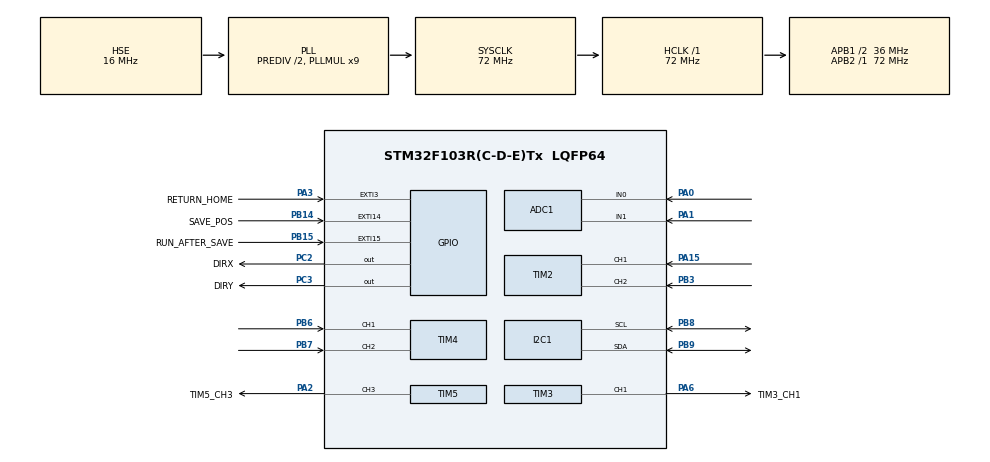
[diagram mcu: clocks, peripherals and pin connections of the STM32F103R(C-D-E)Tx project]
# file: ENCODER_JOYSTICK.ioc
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ADC1.Channel-0\#ChannelRegularConversion=ADC_CHANNEL_0
ADC1.Channel-1\#ChannelRegularConversion=ADC_CHANNEL_1
ADC1.ContinuousConvMode=ENABLE
ADC1.NbrOfConversion=2
ADC1.NbrOfConversionFlag=1
ADC1.Rank-0\#ChannelRegularConversion=1
ADC1.Rank-1\#ChannelRegularConversion=2
ADC1.SamplingTime-0\#ChannelRegularConversion=ADC_SAMPLETIME_239CYCLES_5
ADC1.SamplingTime-1\#ChannelRegularConversion=ADC_SAMPLETIME_239CYCLES_5
ADC1.master=1
Dma.ADC1.0.Direction=DMA_PERIPH_TO_MEMORY
Dma.ADC1.0.Instance=DMA1_Channel1
Dma.ADC1.0.MemDataAlignment=DMA_MDATAALIGN_WORD
Dma.ADC1.0.MemInc=DMA_MINC_ENABLE
Dma.ADC1.0.Mode=DMA_CIRCULAR
Dma.ADC1.0.PeriphDataAlignment=DMA_PDATAALIGN_WORD
Dma.ADC1.0.PeriphInc=DMA_PINC_DISABLE
Dma.ADC1.0.Priority=DMA_PRIORITY_LOW
Dma.Request0=ADC1
I2C1.I2C_Mode=I2C_Fast
Mcu.Family=STM32F1
Mcu.Name=STM32F103R(C-D-E)Tx
Mcu.Package=LQFP64
NVIC.ADC1_2_IRQn=true\:2\:0\:true\:false\:true\:true\:true\:true
NVIC.DMA1_Channel1_IRQn=true\:0\:0\:false\:false\:true\:false\:true\:true
NVIC.EXTI15_10_IRQn=true\:2\:0\:true\:false\:true\:true\:true\:true
NVIC.EXTI3_IRQn=true\:2\:0\:true\:false\:true\:true\:true\:true
NVIC.PriorityGroup=NVIC_PRIORITYGROUP_4
NVIC.TIM2_IRQn=true\:1\:0\:true\:false\:true\:true\:true\:true
NVIC.TIM3_IRQn=true\:1\:0\:true\:false\:true\:true\:true\:true
NVIC.TIM4_IRQn=true\:1\:0\:true\:false\:true\:true\:true\:true
NVIC.TIM5_IRQn=true\:1\:0\:true\:false\:true\:true\:true\:true
PA0-WKUP.Signal=ADCx_IN0
PA1.Signal=ADCx_IN1
PA13.Mode=Serial_Wire
PA13.Signal=SYS_JTMS-SWDIO
PA14.Mode=Serial_Wire
PA14.Signal=SYS_JTCK-SWCLK
PA15.Signal=S_TIM2_CH1_ETR
PA2.GPIO_Label=TIM5_CH3
PA2.Signal=S_TIM5_CH3
PA3.GPIO_Label=RETURN_HOME
PA3.GPIO_ModeDefaultEXTI=GPIO_MODE_IT_FALLING
PA3.GPIO_PuPd=GPIO_PULLUP
PA3.Signal=GPXTI3
PA6.GPIO_Label=TIM3_CH1
PA6.GPIO_Speed=GPIO_SPEED_FREQ_HIGH
PA6.Signal=S_TIM3_CH1
PB14.GPIO_Label=SAVE_POS
PB14.GPIO_ModeDefaultEXTI=GPIO_MODE_IT_FALLING
PB14.GPIO_PuPd=GPIO_PULLUP
PB14.Signal=GPXTI14
PB15.GPIO_Label=RUN_AFTER_SAVE
PB15.GPIO_ModeDefaultEXTI=GPIO_MODE_IT_FALLING
PB15.GPIO_PuPd=GPIO_PULLUP
PB15.Signal=GPXTI15
PB3.Signal=S_TIM2_CH2
PB6.Signal=S_TIM4_CH1
PB7.Signal=S_TIM4_CH2
PB8.Mode=I2C
PB8.Signal=I2C1_SCL
PB9.Mode=I2C
PB9.Signal=I2C1_SDA
PC2.GPIO_Label=DIRX
PC2.Signal=GPIO_Output
PC3.GPIO_Label=DIRY
PC3.Signal=GPIO_Output
PD0-OSC_IN.Mode=HSE-External-Oscillator
PD0-OSC_IN.Signal=RCC_OSC_IN
PD1-OSC_OUT.Mode=HSE-External-Oscillator
PD1-OSC_OUT.Signal=RCC_OSC_OUT
ProjectManager.HeapSize=0x200
ProjectManager.StackSize=0x400
ProjectManager.TargetToolchain=STM32CubeIDE
RCC.ADCPresc=RCC_ADCPCLK2_DIV6
RCC.AHBFreq_Value=72000000
RCC.APB1CLKDivider=RCC_HCLK_DIV2
RCC.APB1Freq_Value=36000000
RCC.APB1TimFreq_Value=72000000
RCC.APB2Freq_Value=72000000
RCC.APB2TimFreq_Value=72000000
RCC.HCLKFreq_Value=72000000
RCC.HSEDivPLL=RCC_HSE_PREDIV_DIV2
RCC.HSE_VALUE=16000000
RCC.PLLMUL=RCC_PLL_MUL9
RCC.PLLSourceVirtual=RCC_PLLSOURCE_HSE
RCC.SYSCLKFreq_VALUE=72000000
RCC.SYSCLKSource=RCC_SYSCLKSOURCE_PLLCLK
RCC.USBFreq_Value=72000000
SH.ADCx_IN0.0=ADC1_IN0,IN0
SH.ADCx_IN1.0=ADC1_IN1,IN1
SH.S_TIM2_CH1_ETR.0=TIM2_CH1,Encoder_Interface
SH.S_TIM2_CH2.0=TIM2_CH2,Encoder_Interface
SH.S_TIM3_CH1.0=TIM3_CH1,PWM Generation1 CH1
SH.S_TIM4_CH1.0=TIM4_CH1,Encoder_Interface
SH.S_TIM4_CH2.0=TIM4_CH2,Encoder_Interface
SH.S_TIM5_CH3.0=TIM5_CH3,PWM Generation3 CH3
TIM2.EncoderMode=TIM_ENCODERMODE_TI12
TIM2.IC1Filter=10
TIM2.IC1Polarity=TIM_ICPOLARITY_RISING
TIM2.IC2Filter=10
TIM2.IC2Polarity=TIM_ICPOLARITY_RISING
TIM3.Channel-PWM\ Generation1\ CH1=TIM_CHANNEL_1
TIM3.Period=40-1
TIM3.Prescaler=720-1
TIM3.Pulse-PWM\ Generation1\ CH1=15
TIM4.EncoderMode=TIM_ENCODERMODE_TI12
TIM4.IC1Filter=10
TIM4.IC2Filter=10
TIM5.Channel-PWM\ Generation3\ CH3=TIM_CHANNEL_3
TIM5.Period=40-1
TIM5.Prescaler=720-1
TIM5.Pulse-PWM\ Generation3\ CH3=15
VP_TIM3_VS_ClockSourceINT.Mode=Internal
board=custom

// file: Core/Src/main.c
/* USER CODE BEGIN Header */
/**
 ******************************************************************************
 * @file           : main.c
 * @brief          : Main program body
 ******************************************************************************
 * @attention
 *
 * Copyright (c) 2023 STMicroelectronics.
 * All rights reserved.
 *
 * This software is licensed under terms that can be found in the LICENSE file
 * in the root directory of this software component.
 * If no LICENSE file comes with this software, it is provided AS-IS.
 *
 ******************************************************************************
 */
/* USER CODE END Header */
#include "main.h"

/* USER CODE BEGIN Includes */
#include "ssd1306.h"
#include "fonts.h"
#include "test.h"
#include <string.h>
#include <stdlib.h>
#include <stdio.h>
/* USER CODE END Includes */

/* USER CODE BEGIN PTD */
typedef struct Position {
	union {
		uint32_t step;
		_Bool direction;
	} axisX;
	union {
		uint32_t step;
		_Bool direction;
	} axisY;
} Pos;
/* USER CODE END PTD */

/* USER CODE BEGIN PD */
#define _OPEN_SYS_ITOA_EXT
#define Y_CHANNEL TIM_CHANNEL_3
#define X_CHANNEL TIM_CHANNEL_1
#define mmX 30
#define mmY 20
#define MAX_ARR 39
#define FASTER_ARR 19
#define length 13
#define one_roundX 3996
#define one_roundY 3996
#define MIN_VALUE 39
#define MAX_VALUE 9999
#define MAX_TIMER_VALUE 65535
#define MIN_DOUBLE 0.01
#define MAX_DOUBLE 1
#define VALUE_AT_HOME 50
#define DIRECTION_PORT GPIOC
/* USER CODE END PD */

ADC_HandleTypeDef hadc1;
DMA_HandleTypeDef hdma_adc1;

I2C_HandleTypeDef hi2c1;

TIM_HandleTypeDef htim2;
TIM_HandleTypeDef htim3;
TIM_HandleTypeDef htim4;
TIM_HandleTypeDef htim5;

/* USER CODE BEGIN PV */
enum {
	CounterClockWise = 1,
	ClockWise = 0,
	moveRobotState = 3,
	returnHomeState = 4,
	runAfterSaveState = 5,
	bluetoothControl = 6
} state;
_Bool true = 1, false = 0;
uint32_t Axis[2], drawX[2], drawY[2];
int timesOverflowX = 0, timesOverflowY = 0;
Pos pos[100];
uint32_t calcX, calcY, currentPulseX = 0, currentPulseY = 0, compensateX = 0,
		compensateY = 0;
uint32_t clkX, clkY, stepX = 0, stepY = 0;
int indexSaving = 0, indexRunAfterSave = 0;
int value_uart = 0, stateOfRobot = moveRobotState;
_Bool isRunning = 0, StateDirX = 0, StateDirY = 0, isAtHomeX = 0, isAtHomeY = 0,
		isAtPositionX = 1, isAtPositionY = 1, isFirstLoop = 0, isReturnHome = 0;
double ratio;
uint32_t distanceX = 0, distanceY = 0;
char value_encoder_Ox[5] = { 0 };
char value_encoder_Oy[5] = { 0 };

/* USER CODE END PV */

void SystemClock_Config(void);
static void MX_GPIO_Init(void);
static void MX_DMA_Init(void);
static void MX_ADC1_Init(void);
static void MX_TIM2_Init(void);
static void MX_TIM3_Init(void);
static void MX_TIM4_Init(void);
static void MX_I2C1_Init(void);
static void MX_TIM5_Init(void);

/* USER CODE BEGIN 0 */

void HAL_GPIO_EXTI_Callback(uint16_t GPIO_Pin) {
	switch (GPIO_Pin) {
	case SAVE_POS_Pin:
		HAL_Delay(200);

		pos[indexSaving].axisX.step = __HAL_TIM_GET_COUNTER(&htim4)
				+ MAX_TIMER_VALUE * timesOverflowX;
		pos[indexSaving].axisY.step = __HAL_TIM_GET_COUNTER(&htim2)
				+ MAX_TIMER_VALUE * timesOverflowY;
		pos[indexSaving].axisX.direction = HAL_GPIO_ReadPin(DIRECTION_PORT,
		DIRX_Pin);
		pos[indexSaving].axisY.direction = HAL_GPIO_ReadPin(DIRECTION_PORT,
		DIRY_Pin);
		indexSaving++;
		HAL_Delay(200);
		__HAL_GPIO_EXTI_CLEAR_IT(SAVE_POS_Pin);
		EXTI->PR = SAVE_POS_Pin;
		break;
	case RUN_AFTER_SAVE_Pin:
		HAL_Delay(100);
		isRunning = true;
		stateOfRobot = runAfterSaveState;
		__HAL_TIM_SET_COUNTER(&htim4, 0);
		__HAL_TIM_SET_COUNTER(&htim2, 0);
		clkX = __HAL_TIM_GET_COUNTER(&htim4);
		clkY = __HAL_TIM_GET_COUNTER(&htim2);
		timesOverflowX = 0;
		timesOverflowY = 0;
		isAtPositionX = true;
		isAtPositionY = true;
		HAL_Delay(100);
		EXTI->PR = RUN_AFTER_SAVE_Pin;
		__HAL_GPIO_EXTI_CLEAR_IT(RUN_AFTER_SAVE_Pin);
		break;
	case RETURN_HOME_Pin:
		HAL_TIM_PWM_Stop_IT(&htim3, X_CHANNEL);
		HAL_TIM_PWM_Stop_IT(&htim5, Y_CHANNEL);
		HAL_Delay(100);
		stateOfRobot = returnHomeState;
		isReturnHome = 1;
		__HAL_TIM_SET_AUTORELOAD(&htim3, FASTER_ARR);
		__HAL_TIM_SET_AUTORELOAD(&htim5, FASTER_ARR);
		HAL_GPIO_WritePin(DIRECTION_PORT, DIRX_Pin, 0);
		HAL_GPIO_WritePin(DIRECTION_PORT, DIRY_Pin, 0);
		HAL_Delay(10);
		if (!(clkX + MAX_TIMER_VALUE * timesOverflowX)) {
			HAL_TIM_PWM_Start_IT(&htim3, X_CHANNEL);
		} else {
			isAtHomeX = true;
		}
		if (!(clkY + MAX_TIMER_VALUE * timesOverflowY)) {
			HAL_TIM_PWM_Start_IT(&htim5, Y_CHANNEL);
		} else {
			isAtHomeY = true;
		}
		EXTI->PR = RETURN_HOME_Pin;
		HAL_Delay(100);
		__HAL_GPIO_EXTI_CLEAR_IT(RETURN_HOME_Pin);
		break;
	default:
		break;
	}

}
void IncreaseIndexReference(void) {
	if (isAtPositionX && isAtPositionY && !isReturnHome) {
		indexRunAfterSave++;
	}
}
void drawOLED(void) {
	drawY[0] = (uint32_t) clkY / one_roundY + timesOverflowY * 16;
	drawX[0] = (uint32_t) clkX / one_roundX + timesOverflowX * 16;
	if (drawX[0] < drawX[1] || drawY[0] < drawY[1]) {
		SSD1306_Clear();
		SSD1306_UpdateScreen();
	}
	itoa(drawY[0], value_encoder_Oy, 10);
	itoa(drawX[0], value_encoder_Ox, 10); // decimal
	SSD1306_GotoXY(10, 12); // goto 10, 10
	SSD1306_Puts("POSITION", &Font_11x18, 1); // print POSITION
	SSD1306_GotoXY(10, 40);
	SSD1306_Puts("(", &Font_7x10, 1);
	SSD1306_GotoXY(20, 40);
	SSD1306_Puts(value_encoder_Ox, &Font_7x10, 1);
	SSD1306_GotoXY(60, 40);
	SSD1306_Puts(",", &Font_7x10, 1);
	SSD1306_GotoXY(70, 40);
	SSD1306_Puts(value_encoder_Oy, &Font_7x10, 1);
	SSD1306_GotoXY(105, 40);
	SSD1306_Puts(")", &Font_7x10, 1);
	SSD1306_UpdateScreen(); // update screen
	memset(value_encoder_Ox, 0, sizeof(value_encoder_Ox));
	memset(value_encoder_Oy, 0, sizeof(value_encoder_Oy));
	drawX[1] = drawX[0];
	drawY[1] = drawY[0];
}
void HAL_TIM_PeriodElapsedCallback(TIM_HandleTypeDef *htim) {
	if (htim->Instance == TIM4) {
		if (StateDirX == ClockWise && timesOverflowX != 0) {
			timesOverflowX--;
		} else if (StateDirX == CounterClockWise) {
			timesOverflowX++;
		}
	}
	if (htim->Instance == TIM2) {
		if (StateDirY == ClockWise && timesOverflowY != 0) {
			timesOverflowY--;
		} else if (StateDirY == CounterClockWise) {
			timesOverflowY++;
		}
	}
}

double RoundingDouble() {
	double round_value_max = MAX_DOUBLE - ratio;
	if (round_value_max < 0.01) {
		ratio = MAX_DOUBLE;
	}
	return ratio;
}
void SettingRobot(int index) {
	HAL_GPIO_WritePin(DIRECTION_PORT, DIRX_Pin, pos[index].axisX.direction);
	HAL_GPIO_WritePin(DIRECTION_PORT, DIRX_Pin, pos[index].axisY.direction);
	if (distanceX > distanceY && distanceX != 0 && distanceY != 0) {
		__HAL_TIM_SET_AUTORELOAD(&htim3, MAX_ARR);
		ratio = (double) distanceY / distanceX;
		ratio = RoundingDouble();
		calcX = MAX_ARR / ratio;
		__HAL_TIM_SET_AUTORELOAD(&htim5, (uint32_t )calcX);
		HAL_TIM_PWM_Start_IT(&htim5, Y_CHANNEL);
		HAL_TIM_PWM_Start_IT(&htim3, X_CHANNEL);
		isAtPositionX = false;
		isAtPositionY = false;
	} else if (distanceX < distanceY && distanceX != 0 && distanceY != 0) {
		__HAL_TIM_SET_AUTORELOAD(&htim5, MAX_ARR);
		ratio = (double) distanceX / distanceY;
		ratio = RoundingDouble();
		calcY = MAX_ARR / ratio;
		__HAL_TIM_SET_AUTORELOAD(&htim3, (uint32_t )calcY);
		HAL_TIM_PWM_Start_IT(&htim5, Y_CHANNEL);
		HAL_TIM_PWM_Start_IT(&htim3, X_CHANNEL);
		isAtPositionX = false;
		isAtPositionY = false;
	} else if (distanceX == distanceY) {
		__HAL_TIM_SET_AUTORELOAD(&htim5, MAX_ARR);
		__HAL_TIM_SET_AUTORELOAD(&htim3, MAX_ARR);
		HAL_TIM_PWM_Start_IT(&htim5, Y_CHANNEL);
		HAL_TIM_PWM_Start_IT(&htim3, X_CHANNEL);
		isAtPositionX = false;
		isAtPositionY = false;
	} else if (!distanceX && distanceY) {
		__HAL_TIM_SET_AUTORELOAD(&htim5, FASTER_ARR);
		isAtPositionX = true;
		isAtPositionY = false;
		HAL_TIM_PWM_Stop_IT(&htim3, X_CHANNEL);
		HAL_TIM_PWM_Start_IT(&htim5, Y_CHANNEL);
	} else if (distanceX && !distanceY) {
		__HAL_TIM_SET_AUTORELOAD(&htim3, FASTER_ARR);
		isAtPositionY = true;
		isAtPositionX = false;
		HAL_TIM_PWM_Start_IT(&htim3, X_CHANNEL);
		HAL_TIM_PWM_Stop_IT(&htim5, Y_CHANNEL);
	} else if (!distanceX && !distanceY) {
		HAL_TIM_PWM_Stop_IT(&htim5, Y_CHANNEL);
		HAL_TIM_PWM_Stop_IT(&htim3, X_CHANNEL);
		isAtPositionY = true;
		isAtPositionX = true;
	}

}

void RunAfterSave(void) {
	if (isAtPositionX && isAtPositionY && !isReturnHome) {
		if (!pos[indexRunAfterSave].axisX.step
				&& !pos[indexRunAfterSave].axisY.step && indexRunAfterSave
				&& indexSaving == indexRunAfterSave) {
			indexRunAfterSave = 0;
			isFirstLoop = false;
		}
		if (indexRunAfterSave) {
			stepX = pos[indexRunAfterSave].axisX.step;
			stepY = pos[indexRunAfterSave].axisY.step;
			distanceX = abs(stepX - pos[indexRunAfterSave - 1].axisX.step);

			distanceY = abs(stepY - pos[indexRunAfterSave - 1].axisY.step);
			distanceX =
					(abs(distanceX - distanceY)) < 100 ? distanceY : distanceX;
			SettingRobot(indexRunAfterSave);
		} else if (!indexRunAfterSave && isFirstLoop) {
			stepX = pos[indexRunAfterSave].axisX.step;
			stepY = pos[indexRunAfterSave].axisY.step;
			SettingRobot(indexRunAfterSave);
		} else if (!indexRunAfterSave && !isFirstLoop) {
			stepX = pos[indexRunAfterSave].axisX.step;
			distanceX = abs(stepX - pos[indexSaving - 1].axisX.step);
			stepY = pos[indexRunAfterSave].axisY.step;
			distanceY = abs(stepY - pos[indexSaving - 1].axisY.step);
			distanceX =
					(abs(distanceX - distanceY)) < 100 ? distanceY : distanceX;
			SettingRobot(indexSaving - 1);
		}

	}
}
_Bool isAtSavePositionX() {
	uint32_t currentPositionX = __HAL_TIM_GET_COUNTER(&htim4);
	if (currentPositionX != pos[indexRunAfterSave].axisX.step) {
		return false;
	}
	return true;
}
_Bool isAtSavePositionY() {
	uint32_t currentPositionY = __HAL_TIM_GET_COUNTER(&htim2);
	if (currentPositionY != pos[indexRunAfterSave].axisY.step) {
		return false;
	}
	return true;
}
void HAL_TIM_IC_CaptureCallback(TIM_HandleTypeDef *htim) {
	if (!isAtPositionX) {
		clkX = __HAL_TIM_GET_COUNTER(&htim4);
		StateDirX = HAL_GPIO_ReadPin(DIRECTION_PORT, DIRX_Pin);
	}
	if (!isAtPositionY) {
		clkY = __HAL_TIM_GET_COUNTER(&htim2);
		StateDirY = HAL_GPIO_ReadPin(DIRECTION_PORT, DIRY_Pin);
	}
}

void HAL_TIM_PWM_PulseFinishedCallback(TIM_HandleTypeDef *htim) //PWM xog 1 xung
{
	switch (stateOfRobot) {
	case runAfterSaveState:
		if (htim->Instance == TIM3) {
			if (!isAtPositionX) {
				currentPulseX++;
			}
			compensateX = currentPulseX - clkX;
			if (clkX + MAX_TIMER_VALUE * timesOverflowX >= stepX + compensateX
					&& StateDirX == CounterClockWise) {
				HAL_TIM_PWM_Stop_IT(&htim3, X_CHANNEL);
				if (isAtSavePositionX()) {
					printf("\n X at pos %d", indexRunAfterSave + 1);
					__HAL_TIM_SET_AUTORELOAD(&htim3, MAX_ARR);
					isAtPositionX = true;
					IncreaseIndexReference();
				} else {
					HAL_GPIO_WritePin(DIRECTION_PORT, DIRX_Pin,
							!pos[indexRunAfterSave].axisX.direction);
					HAL_TIM_PWM_Start_IT(&htim3, X_CHANNEL);
				}

			} else if (clkX + MAX_TIMER_VALUE * timesOverflowX
					<= stepX + compenstateX && StateDirX == ClockWise) {
				HAL_TIM_PWM_Stop_IT(&htim3, X_CHANNEL);
				if (isAtSavePositionX()) {
					printf("\n X at pos %d", indexRunAfterSave + 1);
					__HAL_TIM_SET_AUTORELOAD(&htim3, MAX_ARR);
					isAtPositionX = true;
					IncreaseIndexReference();
				} else {
					HAL_GPIO_WritePin(DIRECTION_PORT, DIRX_Pin,
							!pos[indexRunAfterSave].axisX.direction);
					HAL_TIM_PWM_Start_IT(&htim3, X_CHANNEL);
				}

			}
		}
		if (htim->Instance == TIM5) {
			if (!isAtPositionY) {
				currentPulseY++;
			}
			compensateY = currentPulseY - clkY;
			if (clkY + MAX_TIMER_VALUE * timesOverflowY >= stepY + compensateY
					&& StateDirY == CounterClockWise) {
				HAL_TIM_PWM_Stop_IT(&htim5, Y_CHANNEL);
				if (isAtSavePositionY()) {
					printf("\n Y at pos %d", indexRunAfterSave + 1);
					__HAL_TIM_SET_AUTORELOAD(&htim5, MAX_ARR);
					isAtPositionY = true;
					IncreaseIndexReference();
				} else {
					HAL_GPIO_WritePin(DIRECTION_PORT, DIRY_Pin,
							!pos[indexRunAfterSave].axisY.direction);
					HAL_TIM_PWM_Start_IT(&htim5, Y_CHANNEL);
				}

			} else if (clkY + MAX_TIMER_VALUE * timesOverflowY
					<= stepY + compensateY && StateDirY == ClockWise) {
				HAL_TIM_PWM_Stop_IT(&htim5, Y_CHANNEL);
				if (isAtSavePositionY()) {
					printf("\n Y at pos %d", indexRunAfterSave + 1);
					__HAL_TIM_SET_AUTORELOAD(&htim5, MAX_ARR);
					isAtPositionY = true;
					IncreaseIndexReference();
				} else {
					HAL_GPIO_WritePin(DIRECTION_PORT, DIRY_Pin,
							!pos[indexRunAfterSave].axisY.direction);
					HAL_TIM_PWM_Start_IT(&htim5, Y_CHANNEL);
				}
			}
		}
		break;
	case returnHomeState:
		if (htim->Instance == TIM4) {
			clkX = __HAL_TIM_GET_COUNTER(&htim4);
			if (isReturnHome) {
				if (clkX + MAX_TIMER_VALUE * timesOverflowX <= VALUE_AT_HOME) {
					HAL_TIM_PWM_Stop_IT(&htim3, X_CHANNEL);
					isAtHomeX = true;
				}
			}

		}
		if (htim->Instance == TIM2) {
			clkY = __HAL_TIM_GET_COUNTER(&htim2);
			if (isReturnHome) {
				if (clkY + MAX_TIMER_VALUE * timesOverflowY <= VALUE_AT_HOME) {
					HAL_TIM_PWM_Stop_IT(&htim5, Y_CHANNEL);
					isAtHomeY = true;
				}
			}
		}
		break;
	default:
		break;
	}

}
void Clear_Pos(void) {
	for (int i = 0; i < indexSaving; i++) {
		pos[i].axisX.step = 0;
		pos[i].axisY.step = 0;
		pos[i].axisX.direction = 0;
		pos[i].axisY.direction = 0;
	}
	indexSaving = 0;
	indexRunAfterSave = 0;
}

void MoveRobot(void) {
	if ((Axis[1] >= 1000 && Axis[1] <= 3000) && Axis[0] <= 500) {
		HAL_TIM_PWM_Stop_IT(&htim3, X_CHANNEL);
		HAL_TIM_PWM_Stop_IT(&htim5, Y_CHANNEL);
		HAL_Delay(10);
		HAL_GPIO_WritePin(DIRECTION_PORT, DIRX_Pin, ClockWise);
		// di qua phai
		HAL_TIM_PWM_Start_IT(&htim3, X_CHANNEL);

	} else if (Axis[0] >= 3800 && (Axis[1] <= 3000 && Axis[1] >= 1000)) {
		// di trai
		HAL_TIM_PWM_Stop_IT(&htim3, X_CHANNEL);
		HAL_TIM_PWM_Stop_IT(&htim5, Y_CHANNEL);
		HAL_Delay(10);
		HAL_GPIO_WritePin(DIRECTION_PORT, DIRX_Pin, CounterClockWise);
		HAL_TIM_PWM_Start_IT(&htim3, X_CHANNEL);
	} else if ((Axis[0] <= 3000 && Axis[0] >= 1000) && Axis[1] <= 500) {
		// di xuong
		HAL_TIM_PWM_Stop_IT(&htim3, X_CHANNEL);
		HAL_TIM_PWM_Stop_IT(&htim5, Y_CHANNEL);
		HAL_Delay(10);
		HAL_GPIO_WritePin(DIRECTION_PORT, DIRY_Pin, ClockWise);
		HAL_TIM_PWM_Start_IT(&htim5, Y_CHANNEL);
	} else if (Axis[1] >= 3800 && (Axis[0] <= 3000 && Axis[0] >= 1000)) {
		HAL_TIM_PWM_Stop_IT(&htim3, X_CHANNEL);
		HAL_TIM_PWM_Stop_IT(&htim5, Y_CHANNEL);
		HAL_Delay(10);
		HAL_GPIO_WritePin(DIRECTION_PORT, DIRY_Pin, CounterClockWise); // 1 la di len
		HAL_TIM_PWM_Start_IT(&htim5, Y_CHANNEL);
	} else if (Axis[1] >= 4000 && Axis[0] >= 4000) {
		HAL_TIM_PWM_Stop_IT(&htim3, X_CHANNEL);
		HAL_TIM_PWM_Stop_IT(&htim5, Y_CHANNEL);
		HAL_GPIO_WritePin(DIRECTION_PORT, DIRY_Pin, CounterClockWise); // 1 la di len
		HAL_GPIO_WritePin(DIRECTION_PORT, DIRX_Pin, CounterClockWise); // 1 la di len
		HAL_Delay(10);
		HAL_TIM_PWM_Start_IT(&htim5, Y_CHANNEL);
		HAL_TIM_PWM_Start_IT(&htim3, X_CHANNEL);

	} else if (Axis[0] >= 4000 && Axis[1] <= 500) {
		HAL_TIM_PWM_Stop_IT(&htim3, X_CHANNEL);
		HAL_TIM_PWM_Stop_IT(&htim5, Y_CHANNEL);
		HAL_Delay(10);
		HAL_GPIO_WritePin(DIRECTION_PORT, DIRY_Pin, ClockWise); // 1 la di len
		HAL_GPIO_WritePin(DIRECTION_PORT, DIRX_Pin, CounterClockWise); // 1 la di len
		HAL_TIM_PWM_Start_IT(&htim5, Y_CHANNEL);
		HAL_TIM_PWM_Start_IT(&htim3, X_CHANNEL);
	} else if (Axis[1] <= 500 && Axis[0] <= 500) {
		HAL_TIM_PWM_Stop_IT(&htim3, X_CHANNEL);
		HAL_TIM_PWM_Stop_IT(&htim5, Y_CHANNEL);
		HAL_Delay(10);
		HAL_GPIO_WritePin(DIRECTION_PORT, DIRY_Pin, ClockWise); // 1 la di len
		HAL_GPIO_WritePin(DIRECTION_PORT, DIRX_Pin, ClockWise); // 1 la di len
		HAL_TIM_PWM_Start_IT(&htim5, Y_CHANNEL);
		HAL_TIM_PWM_Start_IT(&htim3, X_CHANNEL);
	} else if (Axis[1] >= 4000 && Axis[0] <= 500) {
		HAL_TIM_PWM_Stop_IT(&htim3, X_CHANNEL);
		HAL_TIM_PWM_Stop_IT(&htim5, Y_CHANNEL);
		HAL_Delay(10);
		HAL_GPIO_WritePin(DIRECTION_PORT, DIRY_Pin, CounterClockWise); // 1 la di len
		HAL_GPIO_WritePin(DIRECTION_PORT, DIRX_Pin, ClockWise); // 1 la di len
		HAL_TIM_PWM_Start_IT(&htim5, Y_CHANNEL);
		HAL_TIM_PWM_Start_IT(&htim3, X_CHANNEL);
	} else {
		HAL_TIM_PWM_Stop_IT(&htim3, X_CHANNEL);
		HAL_TIM_PWM_Stop_IT(&htim5, Y_CHANNEL);
	}

}

void CheckHome(void) {
	if (isAtHomeX && isAtHomeY && isReturnHome) {
		HAL_GPIO_WritePin(DIRECTION_PORT, DIRX_Pin, CounterClockWise);
		HAL_GPIO_WritePin(DIRECTION_PORT, DIRY_Pin, CounterClockWise);
		isAtHomeX = 0;
		isAtHomeY = 0;
		isReturnHome = 0;
		__HAL_TIM_SET_COUNTER(&htim4, 0);
		__HAL_TIM_SET_COUNTER(&htim2, 0);
		clkX = __HAL_TIM_GET_COUNTER(&htim4);
		clkY = __HAL_TIM_GET_COUNTER(&htim2);
		timesOverflowX = 0;
		timesOverflowY = 0;
		if (isRunning == 1) {
			Clear_Pos();
			isRunning = 0;
		}
	}

}

void CheckDirectionState(void) {
	StateDirX = HAL_GPIO_ReadPin(DIRECTION_PORT, DIRX_Pin);
	StateDirY = HAL_GPIO_ReadPin(DIRECTION_PORT, DIRY_Pin);
}
/* USER CODE END 0 */

int main(void) {

	/* MCU Configuration--------------------------------------------------------*/

	/* Reset of all peripherals, Initializes the Flash interface and the Systick. */
	HAL_Init();

	/* Configure the system clock */
	SystemClock_Config();

	/* Initialize all configured peripherals */
	MX_GPIO_Init();
	MX_DMA_Init();
	MX_ADC1_Init();
	MX_TIM2_Init();
	MX_TIM3_Init();
	MX_TIM4_Init();
	MX_I2C1_Init();
	MX_TIM5_Init();
	/* USER CODE BEGIN 2 */

	__HAL_TIM_CLEAR_IT(&htim3, TIM_IT_UPDATE);
	__HAL_TIM_CLEAR_IT(&htim5, TIM_IT_UPDATE);
	__HAL_TIM_CLEAR_IT(&htim2, TIM_IT_UPDATE);
	__HAL_TIM_CLEAR_IT(&htim4, TIM_IT_UPDATE);
	HAL_TIM_Base_Start_IT(&htim3);
	HAL_TIM_Base_Start_IT(&htim5);
	HAL_TIM_Base_Start_IT(&htim2);
	HAL_TIM_Base_Start_IT(&htim4);

	HAL_TIM_Encoder_Start_IT(&htim2, TIM_CHANNEL_ALL);
	HAL_TIM_Encoder_Start_IT(&htim4, TIM_CHANNEL_ALL);
	SSD1306_Init(); // initialize the display
	stateOfRobot = moveRobotState;
	/* USER CODE END 2 */

	/* Infinite loop */
	while (1) {

		/* USER CODE BEGIN 3 */
		switch (stateOfRobot) {
		case moveRobotState:
			HAL_ADC_Start_DMA(&hadc1, Axis, 2);
			MoveRobot();
			break;
		case runAfterSaveState:
			HAL_ADC_Stop_DMA(&hadc1);
			RunAfterSave();
			break;
		case returnHomeState:
			HAL_ADC_Stop_DMA(&hadc1);
			CheckHome();
			break;
		default:
			drawOLED();
			CheckDirectionState();
		}

	}
	/* USER CODE END 3 */
}

void SystemClock_Config(void) {
	RCC_OscInitTypeDef RCC_OscInitStruct = { 0 };
	RCC_ClkInitTypeDef RCC_ClkInitStruct = { 0 };
	RCC_PeriphCLKInitTypeDef PeriphClkInit = { 0 };

	/** Initializes the RCC Oscillators according to the specified parameters
	 * in the RCC_OscInitTypeDef structure.
	 */
	RCC_OscInitStruct.OscillatorType = RCC_OSCILLATORTYPE_HSE;
	RCC_OscInitStruct.HSEState = RCC_HSE_ON;
	RCC_OscInitStruct.HSEPredivValue = RCC_HSE_PREDIV_DIV2;
	RCC_OscInitStruct.HSIState = RCC_HSI_ON;
	RCC_OscInitStruct.PLL.PLLState = RCC_PLL_ON;
	RCC_OscInitStruct.PLL.PLLSource = RCC_PLLSOURCE_HSE;
	RCC_OscInitStruct.PLL.PLLMUL = RCC_PLL_MUL9;
	if (HAL_RCC_OscConfig(&RCC_OscInitStruct) != HAL_OK) {
		Error_Handler();
	}

	/** Initializes the CPU, AHB and APB buses clocks
	 */
	RCC_ClkInitStruct.ClockType = RCC_CLOCKTYPE_HCLK | RCC_CLOCKTYPE_SYSCLK
			| RCC_CLOCKTYPE_PCLK1 | RCC_CLOCKTYPE_PCLK2;
	RCC_ClkInitStruct.SYSCLKSource = RCC_SYSCLKSOURCE_PLLCLK;
	RCC_ClkInitStruct.AHBCLKDivider = RCC_SYSCLK_DIV1;
	RCC_ClkInitStruct.APB1CLKDivider = RCC_HCLK_DIV2;
	RCC_ClkInitStruct.APB2CLKDivider = RCC_HCLK_DIV1;

	if (HAL_RCC_ClockConfig(&RCC_ClkInitStruct, FLASH_LATENCY_2) != HAL_OK) {
		Error_Handler();
	}
	PeriphClkInit.PeriphClockSelection = RCC_PERIPHCLK_ADC;
	PeriphClkInit.AdcClockSelection = RCC_ADCPCLK2_DIV6;
	if (HAL_RCCEx_PeriphCLKConfig(&PeriphClkInit) != HAL_OK) {
		Error_Handler();
	}
}

static void MX_ADC1_Init(void) {

	ADC_ChannelConfTypeDef sConfig = { 0 };

	/** Common config
	 */
	hadc1.Instance = ADC1;
	hadc1.Init.ScanConvMode = ADC_SCAN_ENABLE;
	hadc1.Init.ContinuousConvMode = ENABLE;
	hadc1.Init.DiscontinuousConvMode = DISABLE;
	hadc1.Init.ExternalTrigConv = ADC_SOFTWARE_START;
	hadc1.Init.DataAlign = ADC_DATAALIGN_RIGHT;
	hadc1.Init.NbrOfConversion = 2;
	if (HAL_ADC_Init(&hadc1) != HAL_OK) {
		Error_Handler();
	}

	/** Configure Regular Channel
	 */
	sConfig.Channel = ADC_CHANNEL_0;
	sConfig.Rank = ADC_REGULAR_RANK_1;
	sConfig.SamplingTime = ADC_SAMPLETIME_239CYCLES_5;
	if (HAL_ADC_ConfigChannel(&hadc1, &sConfig) != HAL_OK) {
		Error_Handler();
	}

	/** Configure Regular Channel
	 */
	sConfig.Channel = ADC_CHANNEL_1;
	sConfig.Rank = ADC_REGULAR_RANK_2;
	if (HAL_ADC_ConfigChannel(&hadc1, &sConfig) != HAL_OK) {
		Error_Handler();
	}

}

static void MX_I2C1_Init(void) {

	hi2c1.Instance = I2C1;
	hi2c1.Init.ClockSpeed = 400000;
	hi2c1.Init.DutyCycle = I2C_DUTYCYCLE_2;
	hi2c1.Init.OwnAddress1 = 0;
	hi2c1.Init.AddressingMode = I2C_ADDRESSINGMODE_7BIT;
	hi2c1.Init.DualAddressMode = I2C_DUALADDRESS_DISABLE;
	hi2c1.Init.OwnAddress2 = 0;
	hi2c1.Init.GeneralCallMode = I2C_GENERALCALL_DISABLE;
	hi2c1.Init.NoStretchMode = I2C_NOSTRETCH_DISABLE;
	if (HAL_I2C_Init(&hi2c1) != HAL_OK) {
		Error_Handler();
	}

}

static void MX_TIM2_Init(void) {

	TIM_Encoder_InitTypeDef sConfig = { 0 };
	TIM_MasterConfigTypeDef sMasterConfig = { 0 };

	htim2.Instance = TIM2;
	htim2.Init.Prescaler = 0;
	htim2.Init.CounterMode = TIM_COUNTERMODE_UP;
	htim2.Init.Period = 65535;
	htim2.Init.ClockDivision = TIM_CLOCKDIVISION_DIV1;
	htim2.Init.AutoReloadPreload = TIM_AUTORELOAD_PRELOAD_DISABLE;
	sConfig.EncoderMode = TIM_ENCODERMODE_TI12;
	sConfig.IC1Polarity = TIM_ICPOLARITY_RISING;
	sConfig.IC1Selection = TIM_ICSELECTION_DIRECTTI;
	sConfig.IC1Prescaler = TIM_ICPSC_DIV1;
	sConfig.IC1Filter = 10;
	sConfig.IC2Polarity = TIM_ICPOLARITY_RISING;
	sConfig.IC2Selection = TIM_ICSELECTION_DIRECTTI;
	sConfig.IC2Prescaler = TIM_ICPSC_DIV1;
	sConfig.IC2Filter = 10;
	if (HAL_TIM_Encoder_Init(&htim2, &sConfig) != HAL_OK) {
		Error_Handler();
	}
	sMasterConfig.MasterOutputTrigger = TIM_TRGO_RESET;
	sMasterConfig.MasterSlaveMode = TIM_MASTERSLAVEMODE_DISABLE;
	if (HAL_TIMEx_MasterConfigSynchronization(&htim2, &sMasterConfig)
			!= HAL_OK) {
		Error_Handler();
	}

}

static void MX_TIM3_Init(void) {

	TIM_ClockConfigTypeDef sClockSourceConfig = { 0 };
	TIM_MasterConfigTypeDef sMasterConfig = { 0 };
	TIM_OC_InitTypeDef sConfigOC = { 0 };

	htim3.Instance = TIM3;
	htim3.Init.Prescaler = 720 - 1;
	htim3.Init.CounterMode = TIM_COUNTERMODE_UP;
	htim3.Init.Period = 40 - 1;
	htim3.Init.ClockDivision = TIM_CLOCKDIVISION_DIV1;
	htim3.Init.AutoReloadPreload = TIM_AUTORELOAD_PRELOAD_DISABLE;
	if (HAL_TIM_Base_Init(&htim3) != HAL_OK) {
		Error_Handler();
	}
	sClockSourceConfig.ClockSource = TIM_CLOCKSOURCE_INTERNAL;
	if (HAL_TIM_ConfigClockSource(&htim3, &sClockSourceConfig) != HAL_OK) {
		Error_Handler();
	}
	if (HAL_TIM_PWM_Init(&htim3) != HAL_OK) {
		Error_Handler();
	}
	sMasterConfig.MasterOutputTrigger = TIM_TRGO_RESET;
	sMasterConfig.MasterSlaveMode = TIM_MASTERSLAVEMODE_DISABLE;
	if (HAL_TIMEx_MasterConfigSynchronization(&htim3, &sMasterConfig)
			!= HAL_OK) {
		Error_Handler();
	}
	sConfigOC.OCMode = TIM_OCMODE_PWM1;
	sConfigOC.Pulse = 15;
	sConfigOC.OCPolarity = TIM_OCPOLARITY_HIGH;
	sConfigOC.OCFastMode = TIM_OCFAST_DISABLE;
	if (HAL_TIM_PWM_ConfigChannel(&htim3, &sConfigOC, TIM_CHANNEL_1)
			!= HAL_OK) {
		Error_Handler();
	}
	HAL_TIM_MspPostInit(&htim3);

}

static void MX_TIM4_Init(void) {

	TIM_Encoder_InitTypeDef sConfig = { 0 };
	TIM_MasterConfigTypeDef sMasterConfig = { 0 };

	htim4.Instance = TIM4;
	htim4.Init.Prescaler = 0;
	htim4.Init.CounterMode = TIM_COUNTERMODE_UP;
	htim4.Init.Period = 65535;
	htim4.Init.ClockDivision = TIM_CLOCKDIVISION_DIV1;
	htim4.Init.AutoReloadPreload = TIM_AUTORELOAD_PRELOAD_DISABLE;
	sConfig.EncoderMode = TIM_ENCODERMODE_TI12;
	sConfig.IC1Polarity = TIM_ICPOLARITY_RISING;
	sConfig.IC1Selection = TIM_ICSELECTION_DIRECTTI;
	sConfig.IC1Prescaler = TIM_ICPSC_DIV1;
	sConfig.IC1Filter = 10;
	sConfig.IC2Polarity = TIM_ICPOLARITY_RISING;
	sConfig.IC2Selection = TIM_ICSELECTION_DIRECTTI;
	sConfig.IC2Prescaler = TIM_ICPSC_DIV1;
	sConfig.IC2Filter = 10;
	if (HAL_TIM_Encoder_Init(&htim4, &sConfig) != HAL_OK) {
		Error_Handler();
	}
	sMasterConfig.MasterOutputTrigger = TIM_TRGO_RESET;
	sMasterConfig.MasterSlaveMode = TIM_MASTERSLAVEMODE_DISABLE;
	if (HAL_TIMEx_MasterConfigSynchronization(&htim4, &sMasterConfig)
			!= HAL_OK) {
		Error_Handler();
	}

}

static void MX_TIM5_Init(void) {

	TIM_MasterConfigTypeDef sMasterConfig = { 0 };
	TIM_OC_InitTypeDef sConfigOC = { 0 };

	htim5.Instance = TIM5;
	htim5.Init.Prescaler = 720 - 1;
	htim5.Init.CounterMode = TIM_COUNTERMODE_UP;
	htim5.Init.Period = 40 - 1;
	htim5.Init.ClockDivision = TIM_CLOCKDIVISION_DIV1;
	htim5.Init.AutoReloadPreload = TIM_AUTORELOAD_PRELOAD_DISABLE;
	if (HAL_TIM_PWM_Init(&htim5) != HAL_OK) {
		Error_Handler();
	}
	sMasterConfig.MasterOutputTrigger = TIM_TRGO_RESET;
	sMasterConfig.MasterSlaveMode = TIM_MASTERSLAVEMODE_DISABLE;
	if (HAL_TIMEx_MasterConfigSynchronization(&htim5, &sMasterConfig)
			!= HAL_OK) {
		Error_Handler();
	}
	sConfigOC.OCMode = TIM_OCMODE_PWM1;
	sConfigOC.Pulse = 15;
	sConfigOC.OCPolarity = TIM_OCPOLARITY_HIGH;
	sConfigOC.OCFastMode = TIM_OCFAST_DISABLE;
	if (HAL_TIM_PWM_ConfigChannel(&htim5, &sConfigOC, TIM_CHANNEL_3)
			!= HAL_OK) {
		Error_Handler();
	}
	HAL_TIM_MspPostInit(&htim5);

}

static void MX_DMA_Init(void) {

	/* DMA controller clock enable */
	__HAL_RCC_DMA1_CLK_ENABLE();

	/* DMA interrupt init */
	/* DMA1_Channel1_IRQn interrupt configuration */
	HAL_NVIC_SetPriority(DMA1_Channel1_IRQn, 0, 0);
	HAL_NVIC_EnableIRQ(DMA1_Channel1_IRQn);

}

static void MX_GPIO_Init(void) {
	GPIO_InitTypeDef GPIO_InitStruct = { 0 };

	/* GPIO Ports Clock Enable */
	__HAL_RCC_GPIOD_CLK_ENABLE();
	__HAL_RCC_GPIOC_CLK_ENABLE();
	__HAL_RCC_GPIOA_CLK_ENABLE();
	__HAL_RCC_GPIOB_CLK_ENABLE();

	/*Configure GPIO pin Output Level */
	HAL_GPIO_WritePin(GPIOC, DIRX_Pin | DIRY_Pin, GPIO_PIN_RESET);

	/*Configure GPIO pins : DIRX_Pin DIRY_Pin */
	GPIO_InitStruct.Pin = DIRX_Pin | DIRY_Pin;
	GPIO_InitStruct.Mode = GPIO_MODE_OUTPUT_PP;
	GPIO_InitStruct.Pull = GPIO_NOPULL;
	GPIO_InitStruct.Speed = GPIO_SPEED_FREQ_LOW;
	HAL_GPIO_Init(GPIOC, &GPIO_InitStruct);

	/*Configure GPIO pin : RETURN_HOME_Pin */
	GPIO_InitStruct.Pin = RETURN_HOME_Pin;
	GPIO_InitStruct.Mode = GPIO_MODE_IT_FALLING;
	GPIO_InitStruct.Pull = GPIO_PULLUP;
	HAL_GPIO_Init(RETURN_HOME_GPIO_Port, &GPIO_InitStruct);

	/*Configure GPIO pins : SAVE_POS_Pin RUN_AFTER_SAVE_Pin */
	GPIO_InitStruct.Pin = SAVE_POS_Pin | RUN_AFTER_SAVE_Pin;
	GPIO_InitStruct.Mode = GPIO_MODE_IT_FALLING;
	GPIO_InitStruct.Pull = GPIO_PULLUP;
	HAL_GPIO_Init(GPIOB, &GPIO_InitStruct);

	/* EXTI interrupt init*/
	HAL_NVIC_SetPriority(EXTI3_IRQn, 2, 0);
	HAL_NVIC_EnableIRQ(EXTI3_IRQn);

	HAL_NVIC_SetPriority(EXTI15_10_IRQn, 2, 0);
	HAL_NVIC_EnableIRQ(EXTI15_10_IRQn);

}

void Error_Handler(void) {
	__disable_irq();
	while (1) {
	}
}
